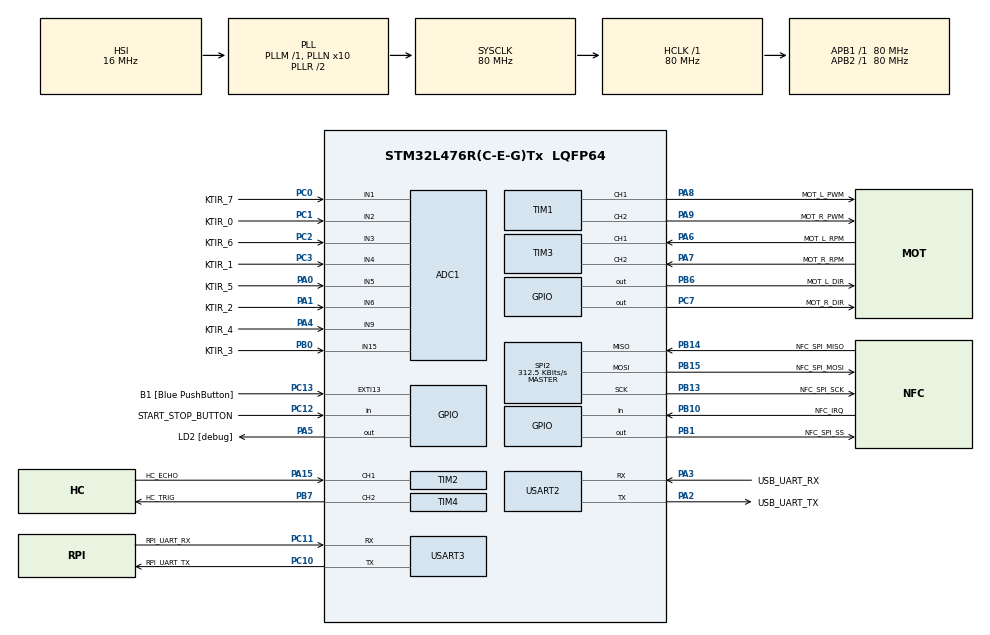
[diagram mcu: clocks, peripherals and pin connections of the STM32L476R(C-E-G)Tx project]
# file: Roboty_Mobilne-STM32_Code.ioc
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ADC1.Channel-0\#ChannelRegularConversion=ADC_CHANNEL_2
ADC1.Channel-1\#ChannelRegularConversion=ADC_CHANNEL_4
ADC1.Channel-10\#ChannelRegularConversion=ADC_CHANNEL_9
ADC1.Channel-11\#ChannelRegularConversion=ADC_CHANNEL_5
ADC1.Channel-12\#ChannelRegularConversion=ADC_CHANNEL_3
ADC1.Channel-13\#ChannelRegularConversion=ADC_CHANNEL_1
ADC1.Channel-8\#ChannelRegularConversion=ADC_CHANNEL_6
ADC1.Channel-9\#ChannelRegularConversion=ADC_CHANNEL_15
ADC1.ContinuousConvMode=ENABLE
ADC1.DMAContinuousRequests=ENABLE
ADC1.EOCSelection=ADC_EOC_SINGLE_CONV
ADC1.NbrOfConversion=8
ADC1.NbrOfConversionFlag=1
ADC1.OffsetNumber-0\#ChannelRegularConversion=ADC_OFFSET_NONE
ADC1.OffsetNumber-1\#ChannelRegularConversion=ADC_OFFSET_NONE
ADC1.OffsetNumber-10\#ChannelRegularConversion=ADC_OFFSET_NONE
ADC1.OffsetNumber-11\#ChannelRegularConversion=ADC_OFFSET_NONE
ADC1.OffsetNumber-12\#ChannelRegularConversion=ADC_OFFSET_NONE
ADC1.OffsetNumber-13\#ChannelRegularConversion=ADC_OFFSET_NONE
ADC1.OffsetNumber-8\#ChannelRegularConversion=ADC_OFFSET_NONE
ADC1.OffsetNumber-9\#ChannelRegularConversion=ADC_OFFSET_NONE
ADC1.Overrun=ADC_OVR_DATA_OVERWRITTEN
ADC1.OversamplingMode=DISABLE
ADC1.Rank-0\#ChannelRegularConversion=1
ADC1.Rank-1\#ChannelRegularConversion=2
ADC1.Rank-10\#ChannelRegularConversion=5
ADC1.Rank-11\#ChannelRegularConversion=6
ADC1.Rank-12\#ChannelRegularConversion=7
ADC1.Rank-13\#ChannelRegularConversion=8
ADC1.Rank-8\#ChannelRegularConversion=3
ADC1.Rank-9\#ChannelRegularConversion=4
ADC1.SamplingTime-0\#ChannelRegularConversion=ADC_SAMPLETIME_640CYCLES_5
ADC1.SamplingTime-1\#ChannelRegularConversion=ADC_SAMPLETIME_640CYCLES_5
ADC1.SamplingTime-10\#ChannelRegularConversion=ADC_SAMPLETIME_640CYCLES_5
ADC1.SamplingTime-11\#ChannelRegularConversion=ADC_SAMPLETIME_640CYCLES_5
ADC1.SamplingTime-12\#ChannelRegularConversion=ADC_SAMPLETIME_640CYCLES_5
ADC1.SamplingTime-13\#ChannelRegularConversion=ADC_SAMPLETIME_640CYCLES_5
ADC1.SamplingTime-8\#ChannelRegularConversion=ADC_SAMPLETIME_640CYCLES_5
ADC1.SamplingTime-9\#ChannelRegularConversion=ADC_SAMPLETIME_640CYCLES_5
ADC1.master=1
Dma.ADC1.0.Direction=DMA_PERIPH_TO_MEMORY
Dma.ADC1.0.Instance=DMA1_Channel1
Dma.ADC1.0.MemDataAlignment=DMA_MDATAALIGN_HALFWORD
Dma.ADC1.0.MemInc=DMA_MINC_ENABLE
Dma.ADC1.0.Mode=DMA_CIRCULAR
Dma.ADC1.0.PeriphDataAlignment=DMA_PDATAALIGN_HALFWORD
Dma.ADC1.0.PeriphInc=DMA_PINC_DISABLE
Dma.ADC1.0.Priority=DMA_PRIORITY_LOW
Dma.Request0=ADC1
Mcu.Family=STM32L4
Mcu.Name=STM32L476R(C-E-G)Tx
Mcu.Package=LQFP64
NVIC.DMA1_Channel1_IRQn=true\:0\:0\:false\:false\:true\:false\:true\:true
NVIC.PriorityGroup=NVIC_PRIORITYGROUP_4
NVIC.TIM2_IRQn=true\:0\:0\:false\:false\:true\:true\:true\:true
NVIC.USART3_IRQn=true\:0\:0\:false\:false\:true\:true\:true\:true
PA0.GPIO_Label=KTIR_5
PA0.Signal=ADCx_IN5
PA1.GPIO_Label=KTIR_2
PA1.Signal=ADCx_IN6
PA13\ (JTMS-SWDIO).GPIO_Label=TMS
PA13\ (JTMS-SWDIO).Mode=Serial_Wire
PA13\ (JTMS-SWDIO).Signal=SYS_JTMS-SWDIO
PA14\ (JTCK-SWCLK).GPIO_Label=TCK
PA14\ (JTCK-SWCLK).Mode=Serial_Wire
PA14\ (JTCK-SWCLK).Signal=SYS_JTCK-SWCLK
PA15\ (JTDI).GPIO_Label=HC_ECHO
PA15\ (JTDI).Signal=S_TIM2_CH1
PA2.GPIO_Label=USB_UART_TX
PA2.GPIO_Mode=GPIO_MODE_AF_PP
PA2.GPIO_PuPd=GPIO_NOPULL
PA2.GPIO_Speed=GPIO_SPEED_FREQ_VERY_HIGH
PA2.Mode=Asynchronous
PA2.Signal=USART2_TX
PA3.GPIO_Label=USB_UART_RX
PA3.GPIO_Mode=GPIO_MODE_AF_PP
PA3.GPIO_PuPd=GPIO_NOPULL
PA3.GPIO_Speed=GPIO_SPEED_FREQ_VERY_HIGH
PA3.Mode=Asynchronous
PA3.Signal=USART2_RX
PA4.GPIO_Label=KTIR_4
PA4.Signal=ADCx_IN9
PA5.GPIO_Label=LD2 [debug]
PA5.GPIO_ModeDefaultOutputPP=GPIO_MODE_OUTPUT_PP
PA5.GPIO_PuPd=GPIO_NOPULL
PA5.GPIO_Speed=GPIO_SPEED_FREQ_LOW
PA5.Signal=GPIO_Output
PA6.GPIO_Label=MOT_L_RPM
PA6.Signal=S_TIM3_CH1
PA7.GPIO_Label=MOT_R_RPM
PA7.Signal=S_TIM3_CH2
PA8.GPIO_Label=MOT_L_PWM
PA8.Signal=S_TIM1_CH1
PA9.GPIO_Label=MOT_R_PWM
PA9.Signal=S_TIM1_CH2
PB0.GPIO_Label=KTIR_3
PB0.Signal=ADCx_IN15
PB1.GPIO_Label=NFC_SPI_SS
PB1.Signal=GPIO_Output
PB10.GPIO_Label=NFC_IRQ
PB10.Signal=GPIO_Input
PB13.GPIO_Label=NFC_SPI_SCK
PB13.Mode=Full_Duplex_Master
PB13.Signal=SPI2_SCK
PB14.GPIO_Label=NFC_SPI_MISO
PB14.Mode=Full_Duplex_Master
PB14.Signal=SPI2_MISO
PB15.GPIO_Label=NFC_SPI_MOSI
PB15.Mode=Full_Duplex_Master
PB15.Signal=SPI2_MOSI
PB3\ (JTDO-TRACESWO).GPIO_Label=SWO
PB3\ (JTDO-TRACESWO).Signal=SYS_JTDO-SWO
PB6.GPIO_Label=MOT_L_DIR
PB6.Signal=GPIO_Output
PB7.GPIO_Label=HC_TRIG
PB7.Signal=S_TIM4_CH2
PC0.GPIO_Label=KTIR_7
PC0.Signal=ADCx_IN1
PC1.GPIO_Label=KTIR_0
PC1.Signal=ADCx_IN2
PC10.GPIO_Label=RPI_UART_TX
PC10.Mode=Asynchronous
PC10.Signal=USART3_TX
PC11.GPIO_Label=RPI_UART_RX
PC11.Mode=Asynchronous
PC11.Signal=USART3_RX
PC12.GPIO_Label=START_STOP_BUTTON
PC12.GPIO_PuPd=GPIO_PULLUP
PC12.Signal=GPIO_Input
PC13.GPIO_Label=B1 [Blue PushButton]
PC13.GPIO_ModeDefaultEXTI=GPIO_MODE_IT_FALLING
PC13.GPIO_PuPd=GPIO_NOPULL
PC13.Signal=GPXTI13
PC14-OSC32_IN\ (PC14).Mode=LSE-External-Oscillator
PC14-OSC32_IN\ (PC14).Signal=RCC_OSC32_IN
PC15-OSC32_OUT\ (PC15).Mode=LSE-External-Oscillator
PC15-OSC32_OUT\ (PC15).Signal=RCC_OSC32_OUT
PC2.GPIO_Label=KTIR_6
PC2.Signal=ADCx_IN3
PC3.GPIO_Label=KTIR_1
PC3.Signal=ADCx_IN4
PC7.GPIO_Label=MOT_R_DIR
PC7.Signal=GPIO_Output
PH0-OSC_IN\ (PH0).Signal=RCC_OSC_IN
PH1-OSC_OUT\ (PH1).Signal=RCC_OSC_OUT
ProjectManager.HeapSize=0x200
ProjectManager.StackSize=0x400
ProjectManager.TargetToolchain=STM32CubeIDE
RCC.ADCCLockSelection=RCC_ADCCLKSOURCE_SYSCLK
RCC.ADCFreq_Value=80000000
RCC.AHBFreq_Value=80000000
RCC.APB1Freq_Value=80000000
RCC.APB1TimFreq_Value=80000000
RCC.APB2Freq_Value=80000000
RCC.APB2TimFreq_Value=80000000
RCC.CortexFreq_Value=80000000
RCC.HCLKFreq_Value=80000000
RCC.HSE_VALUE=8000000
RCC.HSI_VALUE=16000000
RCC.MSI_VALUE=4000000
RCC.PLLN=10
RCC.PLLSourceVirtual=RCC_PLLSOURCE_HSI
RCC.PREFETCH_ENABLE=1
RCC.SYSCLKFreq_VALUE=80000000
RCC.SYSCLKSource=RCC_SYSCLKSOURCE_PLLCLK
RCC.USBFreq_Value=64000000
RCC.VCOOutputFreq_Value=160000000
SH.ADCx_IN1.0=ADC1_IN1,IN1-Single-Ended
SH.ADCx_IN15.0=ADC1_IN15,IN15-Single-Ended
SH.ADCx_IN2.0=ADC1_IN2,IN2-Single-Ended
SH.ADCx_IN3.0=ADC1_IN3,IN3-Single-Ended
SH.ADCx_IN4.0=ADC1_IN4,IN4-Single-Ended
SH.ADCx_IN5.0=ADC1_IN5,IN5-Single-Ended
SH.ADCx_IN6.0=ADC1_IN6,IN6-Single-Ended
SH.ADCx_IN9.0=ADC1_IN9,IN9-Single-Ended
SH.S_TIM1_CH1.0=TIM1_CH1,PWM Generation1 CH1
SH.S_TIM1_CH2.0=TIM1_CH2,PWM Generation2 CH2
SH.S_TIM2_CH1.0=TIM2_CH1,PWM_Input_1
SH.S_TIM3_CH1.0=TIM3_CH1,Input_Capture1_from_TI1
SH.S_TIM3_CH2.0=TIM3_CH2,Input_Capture2_from_TI2
SH.S_TIM4_CH2.0=TIM4_CH2,PWM Generation2 CH2
SPI2.BaudRatePrescaler=SPI_BAUDRATEPRESCALER_256
SPI2.CalculateBaudRate=312.5 KBits/s
SPI2.DataSize=SPI_DATASIZE_8BIT
SPI2.Direction=SPI_DIRECTION_2LINES
SPI2.FirstBit=SPI_FIRSTBIT_LSB
SPI2.Mode=SPI_MODE_MASTER
SPI2.VirtualType=VM_MASTER
TIM1.Channel-PWM\ Generation1\ CH1=TIM_CHANNEL_1
TIM1.Channel-PWM\ Generation2\ CH2=TIM_CHANNEL_2
TIM1.OCPolarity_1=TIM_OCPOLARITY_LOW
TIM1.OCPolarity_2=TIM_OCPOLARITY_LOW
TIM2.Period=65535
TIM2.Prescaler=80-1
TIM3.Channel-Input_Capture1_from_TI1=TIM_CHANNEL_1
TIM3.Channel-Input_Capture2_from_TI2=TIM_CHANNEL_2
TIM4.Channel-PWM\ Generation2\ CH2=TIM_CHANNEL_2
TIM4.Period=62500-1
TIM4.Prescaler=80-1
TIM4.Pulse-PWM\ Generation2\ CH2=10
USART2.VirtualMode-Asynchronous=VM_ASYNC
USART3.VirtualMode-Asynchronous=VM_ASYNC
VP_TIM1_VS_ClockSourceINT.Mode=Internal
VP_TIM2_VS_ClockSourceINT.Mode=Internal
VP_TIM3_VS_ClockSourceINT.Mode=Internal
VP_TIM4_VS_ClockSourceINT.Mode=Internal
board=NUCLEO-L476RG

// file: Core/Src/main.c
/* USER CODE BEGIN Header */
/**
  ******************************************************************************
  * @file           : main.c
  * @brief          : Main program body
  ******************************************************************************
  * @attention
  *
  * Copyright (c) 2022 STMicroelectronics.
  * All rights reserved.
  *
  * This software is licensed under terms that can be found in the LICENSE file
  * in the root directory of this software component.
  * If no LICENSE file comes with this software, it is provided AS-IS.
  *
  ******************************************************************************
  */
/* USER CODE END Header */
#include "main.h"

/* USER CODE BEGIN PTD */
enum _State{NORMAL, OFFROAD_L, OFFROAD_R, STOP_OBSTACLE, STOP_STATION};
typedef enum _State State;
const char* state_map[] = {"NORMAL", "OFFROAD_L", "OFFROAD_R", "STOP_OBSTACLE", "STOP_STATION"};

typedef enum {MSG_START = '1', MSG_STOP = '2', MSG_OBSTACLE = '3', MSG_NFC = '4', MSG_DONE = '5', MSG_FREE ='6'} MSG_t;

/* USER CODE END PTD */

/* USER CODE BEGIN PM */
#define MAX_DUTY 65535
#define MIN_DUTY 0
#define THRESHOLD 3000
#define BASE MAX_DUTY/2
#define STOP_DIST 30
#define STATION_TIME 10000
#define STATION_START 1000
#define OBSTACLE_TIME 1000

#define DT_PID 1
#define DT_PRINT 100

#define Kp 5500
#define Kd 0
#define Ki 0.1f

#define DEBOUNCE 100

/* USER CODE END PM */

 ADC_HandleTypeDef hadc1;
DMA_HandleTypeDef hdma_adc1;

SPI_HandleTypeDef hspi2;

TIM_HandleTypeDef htim1;
TIM_HandleTypeDef htim2;
TIM_HandleTypeDef htim3;
TIM_HandleTypeDef htim4;

UART_HandleTypeDef huart2;
UART_HandleTypeDef huart3;

/* USER CODE BEGIN PV */
HC_SR04_Typedef hc_sr04;
PN532_Typedef pn532;

State state = NORMAL;

uint8_t uid[17];
uint8_t buff[255];

int weights[8] = { -20, -10, -5, -2, 2, 5, 10, 20};
volatile static uint16_t ktir_adc[8];
uint8_t ktir[8];

int64_t duty_L = 0;
int64_t duty_P = 0;

uint8_t started = 0;
uint8_t nfc_detected = 0;
uint8_t station_starting = 0;
uint8_t obstacle_detected = 0;
uint8_t offroad_L = 0;
uint8_t offroad_R = 0;

int sum = 0;
int detections = 0;
int error = 0;
int error_prev = 0;
int delta = 0;

uint32_t last_pid = 0;
uint32_t last_print = 0;

uint32_t last_station = 0;
uint32_t last_station_start = 0;

uint32_t last_obstacle = 0;

uint32_t last_btn = 0;
uint32_t last_press = 0;
uint8_t btn_pressed = 0;
uint8_t btn_hold = 0;
uint32_t now = 0;

uint8_t rpi_rx_buff[2];
uint8_t rpi_tx_buff[3];

uint8_t led_status = 0;
volatile uint8_t rcv_flag = 0;

/* USER CODE END PV */

void SystemClock_Config(void);
static void MX_GPIO_Init(void);
static void MX_USART2_UART_Init(void);
static void MX_DMA_Init(void);
static void MX_ADC1_Init(void);
static void MX_TIM1_Init(void);
static void MX_TIM2_Init(void);
static void MX_TIM3_Init(void);
static void MX_USART3_UART_Init(void);
static void MX_SPI2_Init(void);
static void MX_TIM4_Init(void);

/* USER CODE BEGIN 0 */

void HAL_UART_RxCpltCallback(UART_HandleTypeDef * huart)
{
	if( huart == &huart3 )
	{
		rcv_flag = 1;
	}
}

void RPI_Tx(MSG_t msg)
{
	rpi_tx_buff[0] = msg;
	rpi_tx_buff[1] = '\n';
	rpi_tx_buff[2] = '\r';
	HAL_UART_Transmit(&huart3, rpi_tx_buff, 3, 50);
}

void RPI_Rx()
{
	rcv_flag = 0;
	HAL_UART_Receive_IT(&huart3, rpi_rx_buff, 3);
}

int _write(int file, unsigned char *ptr, int len)
{
	HAL_UART_Transmit(&huart2, ptr, len, 50);
	return len;
}
/* USER CODE END 0 */

int main(void)
{
  /* USER CODE BEGIN 1 */
	int Ki_sum = 0;
  /* USER CODE END 1 */

  /* MCU Configuration--------------------------------------------------------*/

  /* Reset of all peripherals, Initializes the Flash interface and the Systick. */
  HAL_Init();

  /* Configure the system clock */
  SystemClock_Config();

  /* Initialize all configured peripherals */
  MX_GPIO_Init();
  MX_USART2_UART_Init();
  MX_DMA_Init();
  MX_ADC1_Init();
  MX_TIM1_Init();
  MX_TIM2_Init();
  MX_TIM3_Init();
  MX_USART3_UART_Init();
  MX_SPI2_Init();
  MX_TIM4_Init();
  /* USER CODE BEGIN 2 */
  HC_SR04_Init(&hc_sr04, &htim2, &htim4, TIM_CHANNEL_2);
  PN532_Init(&pn532, &hspi2, NFC_SPI_SS_GPIO_Port, NFC_SPI_SS_Pin);
  HAL_ADCEx_Calibration_Start(&hadc1, ADC_SINGLE_ENDED);
  HAL_ADC_Start_DMA(&hadc1, (uint32_t*)ktir_adc,8);

  HAL_Delay(100);

  __HAL_TIM_SET_COMPARE(&htim1, TIM_CHANNEL_1, duty_L);
  __HAL_TIM_SET_COMPARE(&htim1, TIM_CHANNEL_2, duty_P);
  HAL_TIM_PWM_Start(&htim1, TIM_CHANNEL_1);
  HAL_TIM_PWM_Start(&htim1, TIM_CHANNEL_2);
  HAL_GPIO_WritePin(MOT_R_DIR_GPIO_Port, MOT_R_DIR_Pin, 1);

  printf("#### ZWIRO-MOBIL STARTED ##### ");

  PN532_SamConfiguration(&pn532) ;
  PN532_StartPassiveTargetIDDetection(&pn532, PN532_MIFARE_ISO14443A, 100);

  /* USER CODE END 2 */

  /* Infinite loop */
  /* USER CODE BEGIN WHILE */
  while (1)
  {
	  now = HAL_GetTick();
	  //######## CHECK FOR START / STOP
	  btn_pressed = !HAL_GPIO_ReadPin(START_STOP_BUTTON_GPIO_Port, START_STOP_BUTTON_Pin);
	  if( !btn_hold && btn_pressed && now-last_btn >= DEBOUNCE )
	  {
		  btn_hold = 1;
		  last_press = now;
	  }

	  if( btn_hold && !btn_pressed )
	  {
		  if( now-last_press >= DEBOUNCE)
		  {
			  if( !started )
			  {
				  started = 1;
				  duty_L = BASE;
				  duty_P = BASE;
				  PN532_StartPassiveTargetIDDetection(&pn532, PN532_MIFARE_ISO14443A, 100);
				  RPI_Tx(MSG_START);
			  }
			  else
			  {
				  started = 0;
				  duty_L = 0;
				  duty_P = 0;
				  RPI_Tx(MSG_STOP);
			  }
		  }
		  btn_hold = 0;
		  last_btn = now;
	  }

	  //######## CHECK FOR NFC TAG
	  if(!nfc_detected && !HAL_GPIO_ReadPin(NFC_IRQ_GPIO_Port, NFC_IRQ_Pin))
	  {
		  PN532_ReadDetectedID(&pn532, uid, 100);
		  nfc_detected = 1;
		  RPI_Tx(MSG_NFC);
		  last_station = now;
		  RPI_Rx();

	  }

	  if( nfc_detected && ( (rcv_flag && rpi_rx_buff[0] == MSG_DONE) || (now-last_station >= STATION_TIME) ) )
	  {
		  nfc_detected = 0;
		  last_station_start = now;
		  station_starting = 1;
	  }

	  if( station_starting && now-last_station_start > STATION_START )
	  {
		  station_starting = 0;
		  PN532_StartPassiveTargetIDDetection(&pn532, PN532_MIFARE_ISO14443A, 100);
	  }

	  //######## CHECK FOR OBSTACLE
	  if(!obstacle_detected && hc_sr04.distance_cm <= STOP_DIST)
	  {
		  obstacle_detected = 1;
		  last_obstacle = now;
		  if(started)
			  RPI_Tx(MSG_OBSTACLE);
	  }
	  else if(obstacle_detected && hc_sr04.distance_cm > STOP_DIST && now-last_obstacle > OBSTACLE_TIME)
	  {
		  obstacle_detected = 0;
		  if(started)
			  RPI_Tx(MSG_FREE);
	  }

	  //######## PID ROUTINE
	  if( now-last_pid >= DT_PID )
	  {
		  last_pid = now;

		  //##### THRESHOLDING
		  for(uint8_t i = 0; i < 8; i++)
			  ktir[i] = ktir_adc[i]>THRESHOLD;

		  //###### ERROR CALCULATION
		  sum = 0;
		  detections = 0;
		  for(uint8_t i = 0; i < 8; i++)
			  if(ktir[i])
			  {
				  sum += weights[i];
				  detections++;
			  }
		  error_prev = error;
		  error = sum/detections;
		  //####### KI CALCULATION
		  Ki_sum += DT_PID * Ki * error;

		  //####### RUNNING ROUTINE
		  if( started )
		  {
			  //######## STOP CONDITIONS
			  if( obstacle_detected || nfc_detected )
			  {
				  duty_L = 0;
				  duty_P = 0;
			  }
			  //####### DRIVE MODE
			  else
			  {
				  //####### CHECK FOR LEFT OFFROAD
				  if( !offroad_L && error == 0 && error_prev >= weights[7]-1 )
					  offroad_L = 1;
				  else if(offroad_L && error != 0)
					  offroad_L = 0;

				  //####### CHECK FOR RIGHT OFFROAD
				  if( !offroad_R && error == 0 && error_prev <= weights[0]+1 )
					  offroad_R = 1;
				  else if(offroad_R && error != 0 )
					  offroad_R = 0;

				  //# RIGHT OFFORAD
				  if(offroad_R)
					  delta = Kp*weights[0];
				  //# LEFT OFFROAD
				  else if(offroad_L)
					  delta = Kp*weights[7];
				  //# NORMAL DRIVE
				  else
					  delta = Kp*error + Kd*(error-error_prev)/DT_PID + Ki *Ki_sum;

				  duty_L = BASE + delta;
				  duty_P = BASE - delta;
			  }
		  }

		//### APPLY CONSTRAINTS
		if(duty_L > MAX_DUTY) duty_L = MAX_DUTY;
		if(duty_L < MIN_DUTY) duty_L = MIN_DUTY;
		if(duty_P > MAX_DUTY) duty_P = MAX_DUTY;
		if(duty_P < MIN_DUTY) duty_P = MIN_DUTY;

		//### SET PWMS
		__HAL_TIM_SET_COMPARE(&htim1, TIM_CHANNEL_1, (uint16_t)duty_L);
		__HAL_TIM_SET_COMPARE(&htim1, TIM_CHANNEL_2, (uint16_t)duty_P);
	  }

	  //######## PRINT ROUTINE
	  if( now-last_print >= DT_PRINT)
	  {
		  printf("KTIR: ");
		  for(uint8_t i = 0; i < 8; i++)
		    printf("%d", ktir[i]);
		  printf("   E: %d,   D: %d,   PWM_L: %d,   PWM_P: %d", error, delta, (uint8_t)duty_L*100/MAX_DUTY, (uint8_t)duty_P*100/MAX_DUTY);
		  printf("   DIST:  %lu   ", (unsigned long)hc_sr04.distance_cm);
		  if( nfc_detected ) printf("!STATION!");
		  else if( obstacle_detected ) printf("!OBSTACLE!");
		  else if( offroad_L ) printf ("!OFFROAD_L!");
		  else if( offroad_R ) printf ("!OFFROAD_R!");
		  else if( started ) printf("NORMAL");
		  else printf("IDLE");
		  printf("\r\n");

//		  char val[2] = {'1', '\n'};
//		  HAL_UART_Transmit(&huart3, (uint8_t*)val, 2, 50);
//		  HAL_GPIO_TogglePin(LD2_GPIO_Port, LD2_Pin);
	  }

    /* USER CODE END WHILE */

  }
}

void SystemClock_Config(void)
{
  RCC_OscInitTypeDef RCC_OscInitStruct = {0};
  RCC_ClkInitTypeDef RCC_ClkInitStruct = {0};

  /** Configure the main internal regulator output voltage
  */
  if (HAL_PWREx_ControlVoltageScaling(PWR_REGULATOR_VOLTAGE_SCALE1) != HAL_OK)
  {
    Error_Handler();
  }

  /** Initializes the RCC Oscillators according to the specified parameters
  * in the RCC_OscInitTypeDef structure.
  */
  RCC_OscInitStruct.OscillatorType = RCC_OSCILLATORTYPE_HSI;
  RCC_OscInitStruct.HSIState = RCC_HSI_ON;
  RCC_OscInitStruct.HSICalibrationValue = RCC_HSICALIBRATION_DEFAULT;
  RCC_OscInitStruct.PLL.PLLState = RCC_PLL_ON;
  RCC_OscInitStruct.PLL.PLLSource = RCC_PLLSOURCE_HSI;
  RCC_OscInitStruct.PLL.PLLM = 1;
  RCC_OscInitStruct.PLL.PLLN = 10;
  RCC_OscInitStruct.PLL.PLLP = RCC_PLLP_DIV7;
  RCC_OscInitStruct.PLL.PLLQ = RCC_PLLQ_DIV2;
  RCC_OscInitStruct.PLL.PLLR = RCC_PLLR_DIV2;
  if (HAL_RCC_OscConfig(&RCC_OscInitStruct) != HAL_OK)
  {
    Error_Handler();
  }

  /** Initializes the CPU, AHB and APB buses clocks
  */
  RCC_ClkInitStruct.ClockType = RCC_CLOCKTYPE_HCLK|RCC_CLOCKTYPE_SYSCLK
                              |RCC_CLOCKTYPE_PCLK1|RCC_CLOCKTYPE_PCLK2;
  RCC_ClkInitStruct.SYSCLKSource = RCC_SYSCLKSOURCE_PLLCLK;
  RCC_ClkInitStruct.AHBCLKDivider = RCC_SYSCLK_DIV1;
  RCC_ClkInitStruct.APB1CLKDivider = RCC_HCLK_DIV1;
  RCC_ClkInitStruct.APB2CLKDivider = RCC_HCLK_DIV1;

  if (HAL_RCC_ClockConfig(&RCC_ClkInitStruct, FLASH_LATENCY_4) != HAL_OK)
  {
    Error_Handler();
  }
}

static void MX_ADC1_Init(void)
{

  ADC_MultiModeTypeDef multimode = {0};
  ADC_ChannelConfTypeDef sConfig = {0};

  /** Common config
  */
  hadc1.Instance = ADC1;
  hadc1.Init.ClockPrescaler = ADC_CLOCK_ASYNC_DIV1;
  hadc1.Init.Resolution = ADC_RESOLUTION_12B;
  hadc1.Init.DataAlign = ADC_DATAALIGN_RIGHT;
  hadc1.Init.ScanConvMode = ADC_SCAN_ENABLE;
  hadc1.Init.EOCSelection = ADC_EOC_SINGLE_CONV;
  hadc1.Init.LowPowerAutoWait = DISABLE;
  hadc1.Init.ContinuousConvMode = ENABLE;
  hadc1.Init.NbrOfConversion = 8;
  hadc1.Init.DiscontinuousConvMode = DISABLE;
  hadc1.Init.ExternalTrigConv = ADC_SOFTWARE_START;
  hadc1.Init.ExternalTrigConvEdge = ADC_EXTERNALTRIGCONVEDGE_NONE;
  hadc1.Init.DMAContinuousRequests = ENABLE;
  hadc1.Init.Overrun = ADC_OVR_DATA_OVERWRITTEN;
  hadc1.Init.OversamplingMode = DISABLE;
  if (HAL_ADC_Init(&hadc1) != HAL_OK)
  {
    Error_Handler();
  }

  /** Configure the ADC multi-mode
  */
  multimode.Mode = ADC_MODE_INDEPENDENT;
  if (HAL_ADCEx_MultiModeConfigChannel(&hadc1, &multimode) != HAL_OK)
  {
    Error_Handler();
  }

  /** Configure Regular Channel
  */
  sConfig.Channel = ADC_CHANNEL_2;
  sConfig.Rank = ADC_REGULAR_RANK_1;
  sConfig.SamplingTime = ADC_SAMPLETIME_640CYCLES_5;
  sConfig.SingleDiff = ADC_SINGLE_ENDED;
  sConfig.OffsetNumber = ADC_OFFSET_NONE;
  sConfig.Offset = 0;
  if (HAL_ADC_ConfigChannel(&hadc1, &sConfig) != HAL_OK)
  {
    Error_Handler();
  }

  /** Configure Regular Channel
  */
  sConfig.Channel = ADC_CHANNEL_4;
  sConfig.Rank = ADC_REGULAR_RANK_2;
  if (HAL_ADC_ConfigChannel(&hadc1, &sConfig) != HAL_OK)
  {
    Error_Handler();
  }

  /** Configure Regular Channel
  */
  sConfig.Channel = ADC_CHANNEL_6;
  sConfig.Rank = ADC_REGULAR_RANK_3;
  if (HAL_ADC_ConfigChannel(&hadc1, &sConfig) != HAL_OK)
  {
    Error_Handler();
  }

  /** Configure Regular Channel
  */
  sConfig.Channel = ADC_CHANNEL_15;
  sConfig.Rank = ADC_REGULAR_RANK_4;
  if (HAL_ADC_ConfigChannel(&hadc1, &sConfig) != HAL_OK)
  {
    Error_Handler();
  }

  /** Configure Regular Channel
  */
  sConfig.Channel = ADC_CHANNEL_9;
  sConfig.Rank = ADC_REGULAR_RANK_5;
  if (HAL_ADC_ConfigChannel(&hadc1, &sConfig) != HAL_OK)
  {
    Error_Handler();
  }

  /** Configure Regular Channel
  */
  sConfig.Channel = ADC_CHANNEL_5;
  sConfig.Rank = ADC_REGULAR_RANK_6;
  if (HAL_ADC_ConfigChannel(&hadc1, &sConfig) != HAL_OK)
  {
    Error_Handler();
  }

  /** Configure Regular Channel
  */
  sConfig.Channel = ADC_CHANNEL_3;
  sConfig.Rank = ADC_REGULAR_RANK_7;
  if (HAL_ADC_ConfigChannel(&hadc1, &sConfig) != HAL_OK)
  {
    Error_Handler();
  }

  /** Configure Regular Channel
  */
  sConfig.Channel = ADC_CHANNEL_1;
  sConfig.Rank = ADC_REGULAR_RANK_8;
  if (HAL_ADC_ConfigChannel(&hadc1, &sConfig) != HAL_OK)
  {
    Error_Handler();
  }

}

static void MX_SPI2_Init(void)
{

  /* SPI2 parameter configuration*/
  hspi2.Instance = SPI2;
  hspi2.Init.Mode = SPI_MODE_MASTER;
  hspi2.Init.Direction = SPI_DIRECTION_2LINES;
  hspi2.Init.DataSize = SPI_DATASIZE_8BIT;
  hspi2.Init.CLKPolarity = SPI_POLARITY_LOW;
  hspi2.Init.CLKPhase = SPI_PHASE_1EDGE;
  hspi2.Init.NSS = SPI_NSS_SOFT;
  hspi2.Init.BaudRatePrescaler = SPI_BAUDRATEPRESCALER_256;
  hspi2.Init.FirstBit = SPI_FIRSTBIT_LSB;
  hspi2.Init.TIMode = SPI_TIMODE_DISABLE;
  hspi2.Init.CRCCalculation = SPI_CRCCALCULATION_DISABLE;
  hspi2.Init.CRCPolynomial = 7;
  hspi2.Init.CRCLength = SPI_CRC_LENGTH_DATASIZE;
  hspi2.Init.NSSPMode = SPI_NSS_PULSE_ENABLE;
  if (HAL_SPI_Init(&hspi2) != HAL_OK)
  {
    Error_Handler();
  }

}

static void MX_TIM1_Init(void)
{

  TIM_ClockConfigTypeDef sClockSourceConfig = {0};
  TIM_MasterConfigTypeDef sMasterConfig = {0};
  TIM_OC_InitTypeDef sConfigOC = {0};
  TIM_BreakDeadTimeConfigTypeDef sBreakDeadTimeConfig = {0};

  htim1.Instance = TIM1;
  htim1.Init.Prescaler = 0;
  htim1.Init.CounterMode = TIM_COUNTERMODE_UP;
  htim1.Init.Period = 65535;
  htim1.Init.ClockDivision = TIM_CLOCKDIVISION_DIV1;
  htim1.Init.RepetitionCounter = 0;
  htim1.Init.AutoReloadPreload = TIM_AUTORELOAD_PRELOAD_DISABLE;
  if (HAL_TIM_Base_Init(&htim1) != HAL_OK)
  {
    Error_Handler();
  }
  sClockSourceConfig.ClockSource = TIM_CLOCKSOURCE_INTERNAL;
  if (HAL_TIM_ConfigClockSource(&htim1, &sClockSourceConfig) != HAL_OK)
  {
    Error_Handler();
  }
  if (HAL_TIM_PWM_Init(&htim1) != HAL_OK)
  {
    Error_Handler();
  }
  sMasterConfig.MasterOutputTrigger = TIM_TRGO_RESET;
  sMasterConfig.MasterOutputTrigger2 = TIM_TRGO2_RESET;
  sMasterConfig.MasterSlaveMode = TIM_MASTERSLAVEMODE_DISABLE;
  if (HAL_TIMEx_MasterConfigSynchronization(&htim1, &sMasterConfig) != HAL_OK)
  {
    Error_Handler();
  }
  sConfigOC.OCMode = TIM_OCMODE_PWM1;
  sConfigOC.Pulse = 0;
  sConfigOC.OCPolarity = TIM_OCPOLARITY_LOW;
  sConfigOC.OCNPolarity = TIM_OCNPOLARITY_HIGH;
  sConfigOC.OCFastMode = TIM_OCFAST_DISABLE;
  sConfigOC.OCIdleState = TIM_OCIDLESTATE_RESET;
  sConfigOC.OCNIdleState = TIM_OCNIDLESTATE_RESET;
  if (HAL_TIM_PWM_ConfigChannel(&htim1, &sConfigOC, TIM_CHANNEL_1) != HAL_OK)
  {
    Error_Handler();
  }
  if (HAL_TIM_PWM_ConfigChannel(&htim1, &sConfigOC, TIM_CHANNEL_2) != HAL_OK)
  {
    Error_Handler();
  }
  sBreakDeadTimeConfig.OffStateRunMode = TIM_OSSR_DISABLE;
  sBreakDeadTimeConfig.OffStateIDLEMode = TIM_OSSI_DISABLE;
  sBreakDeadTimeConfig.LockLevel = TIM_LOCKLEVEL_OFF;
  sBreakDeadTimeConfig.DeadTime = 0;
  sBreakDeadTimeConfig.BreakState = TIM_BREAK_DISABLE;
  sBreakDeadTimeConfig.BreakPolarity = TIM_BREAKPOLARITY_HIGH;
  sBreakDeadTimeConfig.BreakFilter = 0;
  sBreakDeadTimeConfig.Break2State = TIM_BREAK2_DISABLE;
  sBreakDeadTimeConfig.Break2Polarity = TIM_BREAK2POLARITY_HIGH;
  sBreakDeadTimeConfig.Break2Filter = 0;
  sBreakDeadTimeConfig.AutomaticOutput = TIM_AUTOMATICOUTPUT_DISABLE;
  if (HAL_TIMEx_ConfigBreakDeadTime(&htim1, &sBreakDeadTimeConfig) != HAL_OK)
  {
    Error_Handler();
  }
  HAL_TIM_MspPostInit(&htim1);

}

static void MX_TIM2_Init(void)
{

  TIM_ClockConfigTypeDef sClockSourceConfig = {0};
  TIM_SlaveConfigTypeDef sSlaveConfig = {0};
  TIM_IC_InitTypeDef sConfigIC = {0};
  TIM_MasterConfigTypeDef sMasterConfig = {0};

  htim2.Instance = TIM2;
  htim2.Init.Prescaler = 80-1;
  htim2.Init.CounterMode = TIM_COUNTERMODE_UP;
  htim2.Init.Period = 65535;
  htim2.Init.ClockDivision = TIM_CLOCKDIVISION_DIV1;
  htim2.Init.AutoReloadPreload = TIM_AUTORELOAD_PRELOAD_DISABLE;
  if (HAL_TIM_Base_Init(&htim2) != HAL_OK)
  {
    Error_Handler();
  }
  sClockSourceConfig.ClockSource = TIM_CLOCKSOURCE_INTERNAL;
  if (HAL_TIM_ConfigClockSource(&htim2, &sClockSourceConfig) != HAL_OK)
  {
    Error_Handler();
  }
  if (HAL_TIM_IC_Init(&htim2) != HAL_OK)
  {
    Error_Handler();
  }
  sSlaveConfig.SlaveMode = TIM_SLAVEMODE_RESET;
  sSlaveConfig.InputTrigger = TIM_TS_TI1FP1;
  sSlaveConfig.TriggerPolarity = TIM_INPUTCHANNELPOLARITY_RISING;
  sSlaveConfig.TriggerPrescaler = TIM_ICPSC_DIV1;
  sSlaveConfig.TriggerFilter = 0;
  if (HAL_TIM_SlaveConfigSynchro(&htim2, &sSlaveConfig) != HAL_OK)
  {
    Error_Handler();
  }
  sConfigIC.ICPolarity = TIM_INPUTCHANNELPOLARITY_RISING;
  sConfigIC.ICSelection = TIM_ICSELECTION_DIRECTTI;
  sConfigIC.ICPrescaler = TIM_ICPSC_DIV1;
  sConfigIC.ICFilter = 0;
  if (HAL_TIM_IC_ConfigChannel(&htim2, &sConfigIC, TIM_CHANNEL_1) != HAL_OK)
  {
    Error_Handler();
  }
  sConfigIC.ICPolarity = TIM_INPUTCHANNELPOLARITY_FALLING;
  sConfigIC.ICSelection = TIM_ICSELECTION_INDIRECTTI;
  if (HAL_TIM_IC_ConfigChannel(&htim2, &sConfigIC, TIM_CHANNEL_2) != HAL_OK)
  {
    Error_Handler();
  }
  sMasterConfig.MasterOutputTrigger = TIM_TRGO_RESET;
  sMasterConfig.MasterSlaveMode = TIM_MASTERSLAVEMODE_DISABLE;
  if (HAL_TIMEx_MasterConfigSynchronization(&htim2, &sMasterConfig) != HAL_OK)
  {
    Error_Handler();
  }

}

static void MX_TIM3_Init(void)
{

  TIM_ClockConfigTypeDef sClockSourceConfig = {0};
  TIM_MasterConfigTypeDef sMasterConfig = {0};
  TIM_IC_InitTypeDef sConfigIC = {0};

  htim3.Instance = TIM3;
  htim3.Init.Prescaler = 0;
  htim3.Init.CounterMode = TIM_COUNTERMODE_UP;
  htim3.Init.Period = 65535;
  htim3.Init.ClockDivision = TIM_CLOCKDIVISION_DIV1;
  htim3.Init.AutoReloadPreload = TIM_AUTORELOAD_PRELOAD_DISABLE;
  if (HAL_TIM_Base_Init(&htim3) != HAL_OK)
  {
    Error_Handler();
  }
  sClockSourceConfig.ClockSource = TIM_CLOCKSOURCE_INTERNAL;
  if (HAL_TIM_ConfigClockSource(&htim3, &sClockSourceConfig) != HAL_OK)
  {
    Error_Handler();
  }
  if (HAL_TIM_IC_Init(&htim3) != HAL_OK)
  {
    Error_Handler();
  }
  sMasterConfig.MasterOutputTrigger = TIM_TRGO_RESET;
  sMasterConfig.MasterSlaveMode = TIM_MASTERSLAVEMODE_DISABLE;
  if (HAL_TIMEx_MasterConfigSynchronization(&htim3, &sMasterConfig) != HAL_OK)
  {
    Error_Handler();
  }
  sConfigIC.ICPolarity = TIM_INPUTCHANNELPOLARITY_RISING;
  sConfigIC.ICSelection = TIM_ICSELECTION_DIRECTTI;
  sConfigIC.ICPrescaler = TIM_ICPSC_DIV1;
  sConfigIC.ICFilter = 0;
  if (HAL_TIM_IC_ConfigChannel(&htim3, &sConfigIC, TIM_CHANNEL_1) != HAL_OK)
  {
    Error_Handler();
  }
  if (HAL_TIM_IC_ConfigChannel(&htim3, &sConfigIC, TIM_CHANNEL_2) != HAL_OK)
  {
    Error_Handler();
  }

}

static void MX_TIM4_Init(void)
{

  TIM_ClockConfigTypeDef sClockSourceConfig = {0};
  TIM_MasterConfigTypeDef sMasterConfig = {0};
  TIM_OC_InitTypeDef sConfigOC = {0};

  htim4.Instance = TIM4;
  htim4.Init.Prescaler = 80-1;
  htim4.Init.CounterMode = TIM_COUNTERMODE_UP;
  htim4.Init.Period = 62500-1;
  htim4.Init.ClockDivision = TIM_CLOCKDIVISION_DIV1;
  htim4.Init.AutoReloadPreload = TIM_AUTORELOAD_PRELOAD_DISABLE;
  if (HAL_TIM_Base_Init(&htim4) != HAL_OK)
  {
    Error_Handler();
  }
  sClockSourceConfig.ClockSource = TIM_CLOCKSOURCE_INTERNAL;
  if (HAL_TIM_ConfigClockSource(&htim4, &sClockSourceConfig) != HAL_OK)
  {
    Error_Handler();
  }
  if (HAL_TIM_PWM_Init(&htim4) != HAL_OK)
  {
    Error_Handler();
  }
  sMasterConfig.MasterOutputTrigger = TIM_TRGO_RESET;
  sMasterConfig.MasterSlaveMode = TIM_MASTERSLAVEMODE_DISABLE;
  if (HAL_TIMEx_MasterConfigSynchronization(&htim4, &sMasterConfig) != HAL_OK)
  {
    Error_Handler();
  }
  sConfigOC.OCMode = TIM_OCMODE_PWM1;
  sConfigOC.Pulse = 10;
  sConfigOC.OCPolarity = TIM_OCPOLARITY_HIGH;
  sConfigOC.OCFastMode = TIM_OCFAST_DISABLE;
  if (HAL_TIM_PWM_ConfigChannel(&htim4, &sConfigOC, TIM_CHANNEL_2) != HAL_OK)
  {
    Error_Handler();
  }
  HAL_TIM_MspPostInit(&htim4);

}

static void MX_USART2_UART_Init(void)
{

  huart2.Instance = USART2;
  huart2.Init.BaudRate = 115200;
  huart2.Init.WordLength = UART_WORDLENGTH_8B;
  huart2.Init.StopBits = UART_STOPBITS_1;
  huart2.Init.Parity = UART_PARITY_NONE;
  huart2.Init.Mode = UART_MODE_TX_RX;
  huart2.Init.HwFlowCtl = UART_HWCONTROL_NONE;
  huart2.Init.OverSampling = UART_OVERSAMPLING_16;
  huart2.Init.OneBitSampling = UART_ONE_BIT_SAMPLE_DISABLE;
  huart2.AdvancedInit.AdvFeatureInit = UART_ADVFEATURE_NO_INIT;
  if (HAL_UART_Init(&huart2) != HAL_OK)
  {
    Error_Handler();
  }

}

static void MX_USART3_UART_Init(void)
{

  huart3.Instance = USART3;
  huart3.Init.BaudRate = 115200;
  huart3.Init.WordLength = UART_WORDLENGTH_8B;
  huart3.Init.StopBits = UART_STOPBITS_1;
  huart3.Init.Parity = UART_PARITY_NONE;
  huart3.Init.Mode = UART_MODE_TX_RX;
  huart3.Init.HwFlowCtl = UART_HWCONTROL_NONE;
  huart3.Init.OverSampling = UART_OVERSAMPLING_16;
  huart3.Init.OneBitSampling = UART_ONE_BIT_SAMPLE_DISABLE;
  huart3.AdvancedInit.AdvFeatureInit = UART_ADVFEATURE_NO_INIT;
  if (HAL_UART_Init(&huart3) != HAL_OK)
  {
    Error_Handler();
  }

}

static void MX_DMA_Init(void)
{

  /* DMA controller clock enable */
  __HAL_RCC_DMA1_CLK_ENABLE();

  /* DMA interrupt init */
  /* DMA1_Channel1_IRQn interrupt configuration */
  HAL_NVIC_SetPriority(DMA1_Channel1_IRQn, 0, 0);
  HAL_NVIC_EnableIRQ(DMA1_Channel1_IRQn);

}

static void MX_GPIO_Init(void)
{
  GPIO_InitTypeDef GPIO_InitStruct = {0};

  /* GPIO Ports Clock Enable */
  __HAL_RCC_GPIOC_CLK_ENABLE();
  __HAL_RCC_GPIOH_CLK_ENABLE();
  __HAL_RCC_GPIOA_CLK_ENABLE();
  __HAL_RCC_GPIOB_CLK_ENABLE();

  /*Configure GPIO pin Output Level */
  HAL_GPIO_WritePin(LD2_GPIO_Port, LD2_Pin, GPIO_PIN_RESET);

  /*Configure GPIO pin Output Level */
  HAL_GPIO_WritePin(GPIOB, NFC_SPI_SS_Pin|MOT_L_DIR_Pin, GPIO_PIN_RESET);

  /*Configure GPIO pin Output Level */
  HAL_GPIO_WritePin(MOT_R_DIR_GPIO_Port, MOT_R_DIR_Pin, GPIO_PIN_RESET);

  /*Configure GPIO pin : B1_Pin */
  GPIO_InitStruct.Pin = B1_Pin;
  GPIO_InitStruct.Mode = GPIO_MODE_IT_FALLING;
  GPIO_InitStruct.Pull = GPIO_NOPULL;
  HAL_GPIO_Init(B1_GPIO_Port, &GPIO_InitStruct);

  /*Configure GPIO pin : LD2_Pin */
  GPIO_InitStruct.Pin = LD2_Pin;
  GPIO_InitStruct.Mode = GPIO_MODE_OUTPUT_PP;
  GPIO_InitStruct.Pull = GPIO_NOPULL;
  GPIO_InitStruct.Speed = GPIO_SPEED_FREQ_LOW;
  HAL_GPIO_Init(LD2_GPIO_Port, &GPIO_InitStruct);

  /*Configure GPIO pins : NFC_SPI_SS_Pin MOT_L_DIR_Pin */
  GPIO_InitStruct.Pin = NFC_SPI_SS_Pin|MOT_L_DIR_Pin;
  GPIO_InitStruct.Mode = GPIO_MODE_OUTPUT_PP;
  GPIO_InitStruct.Pull = GPIO_NOPULL;
  GPIO_InitStruct.Speed = GPIO_SPEED_FREQ_LOW;
  HAL_GPIO_Init(GPIOB, &GPIO_InitStruct);

  /*Configure GPIO pin : NFC_IRQ_Pin */
  GPIO_InitStruct.Pin = NFC_IRQ_Pin;
  GPIO_InitStruct.Mode = GPIO_MODE_INPUT;
  GPIO_InitStruct.Pull = GPIO_NOPULL;
  HAL_GPIO_Init(NFC_IRQ_GPIO_Port, &GPIO_InitStruct);

  /*Configure GPIO pin : MOT_R_DIR_Pin */
  GPIO_InitStruct.Pin = MOT_R_DIR_Pin;
  GPIO_InitStruct.Mode = GPIO_MODE_OUTPUT_PP;
  GPIO_InitStruct.Pull = GPIO_NOPULL;
  GPIO_InitStruct.Speed = GPIO_SPEED_FREQ_LOW;
  HAL_GPIO_Init(MOT_R_DIR_GPIO_Port, &GPIO_InitStruct);

  /*Configure GPIO pin : START_STOP_BUTTON_Pin */
  GPIO_InitStruct.Pin = START_STOP_BUTTON_Pin;
  GPIO_InitStruct.Mode = GPIO_MODE_INPUT;
  GPIO_InitStruct.Pull = GPIO_PULLUP;
  HAL_GPIO_Init(START_STOP_BUTTON_GPIO_Port, &GPIO_InitStruct);

}

void Error_Handler(void)
{
  __disable_irq();
  while (1)
  {
  }
}
